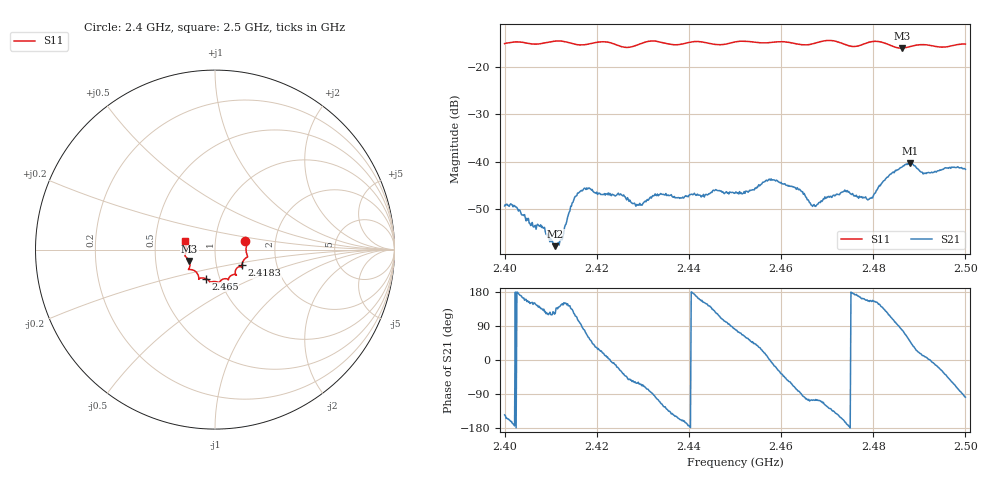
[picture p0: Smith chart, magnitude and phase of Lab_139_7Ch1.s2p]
# Hz S RI R 50
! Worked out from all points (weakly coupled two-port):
!   601 points, 2.4 GHz to 2.5 GHz, reference 50 ohm
!   highest |S21| = -40.34 dB at 2.488 GHz (marker M1); lowest = -57.7 dB at 2.411 GHz (marker M2)
!   lowest |S11| = -16.1 dB at 2.4862 GHz (marker M3), VSWR 1.37, Z = 37.2 - j4.83 ohm
!   |S11| at or under -10 dB: start of sweep to end of sweep
!   S12 and S22 are empty: the file has one direction only
!   S11 on the Smith chart (normalised r, x): 2.4 GHz: 1.40, +0.13; 2.4183 GHz: 1.33, -0.24; 2.465 GHz: 0.86, -0.28; 2.5 GHz: 0.71, +0.07
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2.4e9  0.1685 0.0467  -0.00281 -0.00198  0 0  0 0
2.402167e9  0.1782 0.0367  -0.00344 -0.000375  0 0  0 0
2.405833e9  0.1732 0.0106  -0.00191 0.00104  0 0  0 0
2.408167e9  0.1749 -0.0176  -0.00146 0.00151  0 0  0 0
2.411e9  0.1818 -0.0382  -0.000716 0.00108  0 0  0 0
2.412333e9  0.1814 -0.0413  -0.00127 0.000851  0 0  0 0
2.414833e9  0.1663 -0.0508  -0.00238 0.00291  0 0  0 0
2.416667e9  0.1549 -0.0683  -0.000142 0.00501  0 0  0 0
2.418333e9  0.1502 -0.0871  0.00281 0.00452  0 0  0 0
2.429e9  0.1127 -0.1286  0.00186 -0.00304  0 0  0 0
2.433333e9  0.1176 -0.1411  -0.00114 -0.00425  0 0  0 0
2.45e9  0.0264 -0.1803  0.000712 0.00463  0 0  0 0
2.457833e9  -0.0162 -0.1791  0.00661 -0.000529  0 0  0 0
2.465e9  -0.0523 -0.1614  -0.000606 -0.00463  0 0  0 0
2.466667e9  -0.0712 -0.1576  -0.000946 -0.00337  0 0  0 0
2.473833e9  -0.0936 -0.1438  -0.00486 -0.00142  0 0  0 0
2.479333e9  -0.1444 -0.1109  -0.00383 0.00162  0 0  0 0
2.483333e9  -0.1411 -0.0963  -0.00345 0.00619  0 0  0 0
2.486167e9  -0.1434 -0.0633  0.00139 0.00866  0 0  0 0
2.488e9  -0.1562 -0.0468  0.00633 0.00724  0 0  0 0
2.491167e9  -0.167 -0.0333  0.00745 0.00115  0 0  0 0
2.5e9  -0.1666 0.047  -0.00118 -0.00827  0 0  0 0
